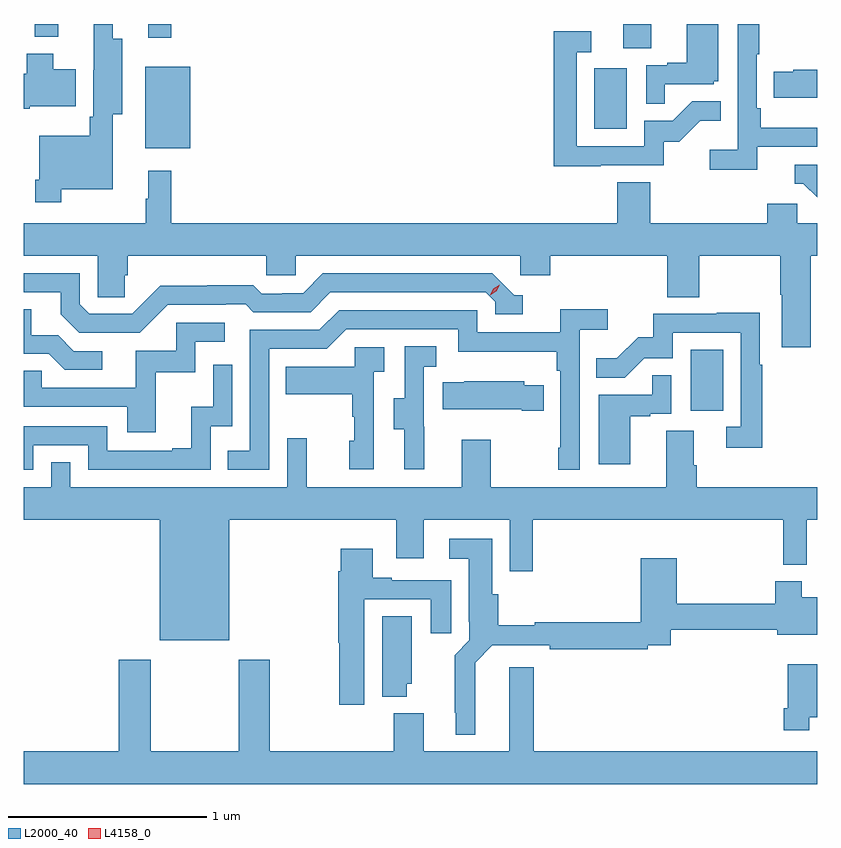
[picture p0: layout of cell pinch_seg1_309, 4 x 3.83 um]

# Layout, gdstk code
import gdstk
lib = gdstk.Library(unit=1e-6, precision=1e-09)
def R(c, l, rs):  # rectangles x0, y0, x1, y1
    for r in rs: c.add(gdstk.rectangle(r[:2], r[2:], *l))
def P(c, l, *ps):  # polygons
    for p in ps: c.add(gdstk.Polygon(p, *l))
L2000_40 = (2000, 40)
L4158_0 = (4158, 0)

pinch_seg1_309 = lib.new_cell('pinch_seg1_309')
R(pinch_seg1_309, L2000_40, [(913.28,556.278,913.444,556.585), (910.529,557.603,910.756,558.013), (912.794,557.7,912.958,558.007), (912.941,558.106,913.081,558.229), (910.544,558.159,910.661,558.229), (909.973,558.164,910.091,558.229)])
P(pinch_seg1_309, L2000_40, [(913.151,557.925),(913.398,557.925),(913.398,557.94),(913.42,557.94),(913.42,558.229),(913.262,558.229),(913.262,558.034),(913.163,558.034),(913.163,558.021),(913.056,558.021),(913.056,557.827),(913.151,557.827)],
  [(910.105,557.396),(910.366,557.396),(910.366,557.774),(910.414,557.774),(910.414,558.154),(910.367,558.154),(910.367,558.229),(910.269,558.229),(910.269,557.997),(910.268,557.997),(910.268,557.761),(910.249,557.761),(910.249,557.665),(909.996,557.665),(909.996,557.443),(909.976,557.443),(909.976,557.331),(910.105,557.331)],
  [(913.616,557.61),(913.918,557.61),(913.918,557.707),(913.634,557.707),(913.634,557.803),(913.614,557.803),(913.614,558.076),(913.627,558.076),(913.627,558.229),(913.518,558.229),(913.518,557.596),(913.377,557.596),(913.377,557.494),(913.616,557.494)],
  [(912.827,557.517),(913.146,557.517),(913.146,557.634),(913.222,557.634),(913.329,557.741),(913.433,557.741),(913.433,557.84),(913.289,557.84),(913.191,557.742),(913.047,557.742),(913.047,557.613),(912.705,557.613),(912.705,558.087),(912.778,558.087),(912.778,558.193),(912.589,558.193),(912.589,557.512),(912.827,557.512)],
  [(909.948,557.813),(910.18,557.813),(910.18,558.001),(910.066,558.001),(910.066,558.079),(909.932,558.079),(909.932,557.979),(909.918,557.979),(909.918,557.801),(909.948,557.801)],
  [(913.918,557.998),(913.797,557.998),(913.797,557.988),(913.699,557.988),(913.699,557.858),(913.918,557.858)],
  [(913.918,557.52),(913.805,557.52),(913.805,557.424),(913.848,557.424),(913.918,557.354)],
  [(913.887,557.06),(913.918,557.06),(913.918,557.224),(913.818,557.224),(913.818,557.322),(913.667,557.322),(913.667,557.224),(913.076,557.224),(913.076,557.432),(912.911,557.432),(912.911,557.224),(910.661,557.224),(910.661,557.488),(910.544,557.488),(910.544,557.348),(910.533,557.348),(910.533,557.224),(909.918,557.224),(909.918,557.06),(910.29,557.06),(910.29,556.852),(910.427,556.852),(910.427,556.962),(910.442,556.962),(910.442,557.06),(911.139,557.06),(911.139,556.962),(911.289,556.962),(911.289,557.06),(912.42,557.06),(912.42,556.962),(912.572,556.962),(912.572,557.06),(913.163,557.06),(913.163,556.852),(913.323,556.852),(913.323,557.06),(913.732,557.06),(913.732,556.864),(913.739,556.864),(913.739,556.599),(913.887,556.599)],
  [(910.644,556.812),(910.937,556.812),(910.937,556.815),(911.036,556.815),(911.075,556.776),(911.364,556.776),(911.463,556.875),(912.246,556.875),(912.294,556.827),(912.294,556.764),(912.433,556.764),(912.433,556.86),(912.39,556.86),(912.279,556.971),(911.426,556.971),(911.327,556.872),(911.22,556.872),(911.22,556.869),(911.117,556.869),(911.075,556.912),(910.842,556.912),(910.842,556.909),(910.606,556.909),(910.464,556.767),(910.248,556.767),(910.2,556.815),(910.2,556.971),(909.918,556.971),(909.918,556.875),(910.103,556.875),(910.103,556.765),(910.197,556.671),(910.503,556.671)],
  [(910.312,556.578),(910.17,556.578),(910.09,556.658),(909.955,556.658),(909.955,556.79),(909.918,556.79),(909.918,556.566),(910.043,556.566),(910.124,556.485),(910.312,556.485)],
  [(911.154,556.59),(911.445,556.59),(911.544,556.689),(912.108,556.689),(912.108,556.577),(912.604,556.577),(912.604,556.481),(912.624,556.481),(912.624,556.093),(912.612,556.093),(912.612,555.981),(912.72,555.981),(912.72,556.688),(912.862,556.688),(912.862,556.79),(912.623,556.79),(912.623,556.674),(912.204,556.674),(912.204,556.785),(911.507,556.785),(911.408,556.686),(911.058,556.686),(911.058,556.077),(910.945,556.077),(910.945,555.981),(911.154,555.981)],
  [(913.642,556.511),(913.629,556.511),(913.629,556.772),(913.411,556.772),(913.411,556.767),(913.093,556.767),(913.093,556.65),(913.016,556.65),(912.909,556.543),(912.805,556.543),(912.805,556.444),(912.949,556.444),(913.047,556.542),(913.191,556.542),(913.191,556.671),(913.533,556.671),(913.533,556.197),(913.461,556.197),(913.461,556.092),(913.642,556.092)],
  [(910.583,556.473),(910.782,556.473),(910.782,556.626),(910.93,556.626),(910.93,556.722),(910.686,556.722),(910.686,556.581),(910.481,556.581),(910.481,556.395),(910.007,556.395),(910.007,556.479),(909.918,556.479),(909.918,556.299),(910.439,556.299),(910.439,556.17),(910.583,556.17)],
  [(911.936,556.197),(911.934,556.197),(911.934,556.501),(911.998,556.501),(911.998,556.604),(911.838,556.604),(911.838,556.341),(911.783,556.341),(911.783,556.186),(911.837,556.186),(911.837,555.984),(911.936,555.984)],
  [(911.682,556.475),(911.734,556.475),(911.734,556.599),(911.586,556.599),(911.586,556.501),(911.239,556.501),(911.239,556.361),(911.574,556.361),(911.574,556.247),(911.584,556.247),(911.584,556.128),(911.558,556.128),(911.558,555.984),(911.682,555.984)],
  [(909.966,556.104),(910.242,556.104),(910.242,555.981),(910.86,555.981),(910.86,556.2),(910.968,556.2),(910.968,556.51),(910.872,556.51),(910.872,556.298),(910.763,556.298),(910.763,556.09),(910.667,556.09),(910.667,556.077),(910.338,556.077),(910.338,556.2),(909.918,556.2),(909.918,555.981),(909.966,555.981)],
  [(912.976,556.251),(913.076,556.251),(913.076,556.263),(913.182,556.263),(913.182,556.457),(913.087,556.457),(913.087,556.359),(912.818,556.359),(912.818,556.008),(912.976,556.008)],
  [(912.539,556.408),(912.441,556.408),(912.441,556.426),(912.139,556.426),(912.139,556.423),(912.031,556.423),(912.031,556.286),(912.428,556.286),(912.428,556.279),(912.539,556.279)],
  [(910.954,555.728),(911.795,555.728),(911.795,555.534),(911.935,555.534),(911.935,555.728),(912.369,555.728),(912.369,555.468),(912.485,555.468),(912.485,555.728),(913.747,555.728),(913.747,555.503),(913.865,555.503),(913.865,555.728),(913.918,555.728),(913.918,555.892),(913.31,555.892),(913.31,556.004),(913.297,556.004),(913.297,556.178),(913.157,556.178),(913.157,555.892),(912.273,555.892),(912.273,556.132),(912.125,556.132),(912.125,555.892),(911.345,555.892),(911.345,556.141),(911.247,556.141),(911.247,555.892),(910.152,555.892),(910.152,556.019),(910.056,556.019),(910.056,555.892),(909.918,555.892),(909.918,555.728),(910.604,555.728),(910.604,555.122),(910.954,555.122)],
  [(912.193,555.008),(912.28,555.096),(912.571,555.096),(912.571,555.076),(913.064,555.076),(913.064,555.096),(913.181,555.096),(913.181,555.175),(913.718,555.175),(913.718,555.149),(913.918,555.149),(913.918,555.337),(913.84,555.337),(913.84,555.418),(913.706,555.418),(913.706,555.304),(913.211,555.304),(913.211,555.535),(913.028,555.535),(913.028,555.212),(912.494,555.212),(912.494,555.197),(912.311,555.197),(912.311,555.354),(912.28,555.354),(912.28,555.634),(912.063,555.634),(912.063,555.533),(912.161,555.533),(912.161,555.214),(912.165,555.214),(912.165,555.12),(912.091,555.046),(912.091,554.755),(912.095,554.755),(912.095,554.645),(912.193,554.645)],
  [(911.635,555.327),(911.969,555.327),(911.969,555.156),(912.073,555.156),(912.073,555.423),(911.773,555.423),(911.773,555.436),(911.677,555.436),(911.677,555.583),(911.516,555.583),(911.516,555.47),(911.504,555.47),(911.504,555.108),(911.509,555.108),(911.509,554.796),(911.635,554.796)],
  [(911.848,554.901),(911.875,554.901),(911.875,555.242),(911.726,555.242),(911.726,554.837),(911.848,554.837)],
  [(913.918,554.56),(912.488,554.56),(912.488,554.986),(912.365,554.986),(912.365,554.56),(911.935,554.56),(911.935,554.752),(911.783,554.752),(911.783,554.56),(911.157,554.56),(911.157,555.022),(911.002,555.022),(911.002,554.56),(910.557,554.56),(910.557,555.022),(910.397,555.022),(910.397,554.56),(909.918,554.56),(909.918,554.396),(913.918,554.396)],
  [(913.879,554.732),(913.918,554.732),(913.918,555.001),(913.77,555.001),(913.77,554.779),(913.75,554.779),(913.75,554.667),(913.879,554.667)])
P(pinch_seg1_309, L4158_0, [(912.27,556.861),(912.27,556.861),(912.286,556.893),(912.317,556.913),(912.317,556.913),(912.317,556.913),(912.301,556.88),(912.271,556.861)])

lib.write_gds('pinch_seg1_309.gds')
